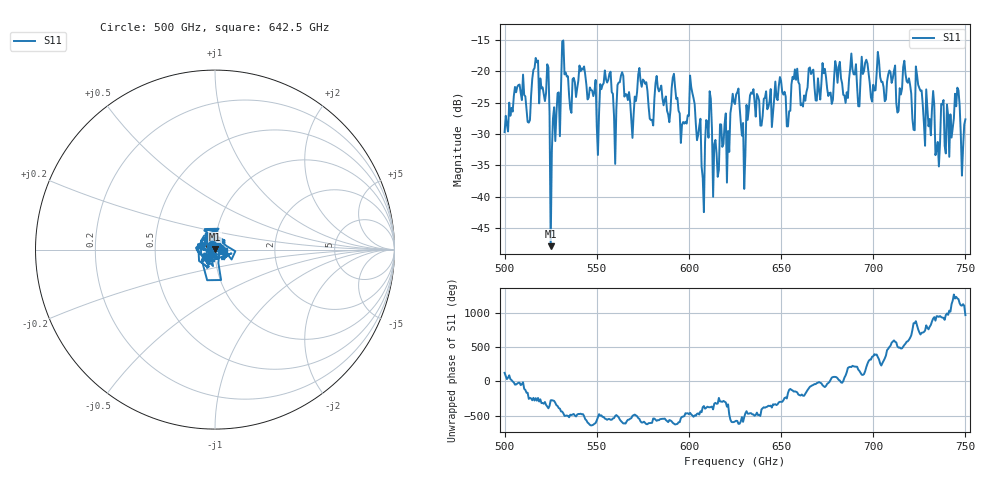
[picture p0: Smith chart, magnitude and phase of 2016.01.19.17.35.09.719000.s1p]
!Created with skrf (http://scikit-rf.org).
# GHz S RI R 50.0
!freq ReS11 ImS11
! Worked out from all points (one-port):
!   401 points, 500 GHz to 750 GHz, reference 50 ohm
!   lowest |S11| = -47.9 dB at 525 GHz (marker M1), VSWR 1.01, Z = 50 + j0.403 ohm
!   |S11| at or under -10 dB: start of sweep to end of sweep
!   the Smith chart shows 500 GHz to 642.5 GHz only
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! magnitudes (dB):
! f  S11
! 500 GHz  -29.7
! 506.9 GHz  -22.5
! 513.1 GHz  -28.2
! 516.9 GHz  -17.9
! 523.1 GHz  -18.9
! 525 GHz  -47.9
! 531.2 GHz  -15.2
! 551.2 GHz  -26.6
! 556.2 GHz  -21.4
! 559.4 GHz  -27.2
! 562.5 GHz  -21.7
! 569.4 GHz  -30.6
! 573.8 GHz  -21.5
! 579.4 GHz  -27.8
! 593.8 GHz  -24.2
! 601.9 GHz  -23.5
! 608.1 GHz  -42.4
! 610.6 GHz  -30.6
! 614.4 GHz  -30.9
! 625 GHz  -25.2
! 629.4 GHz  -28.2
! 634.4 GHz  -23.6
! 656.2 GHz  -20.9
! 687.5 GHz  -19.5
! 718.8 GHz  -21.8
! 735 GHz  -31.3
! 745.6 GHz  -22.6
! 750 GHz  -27.7
